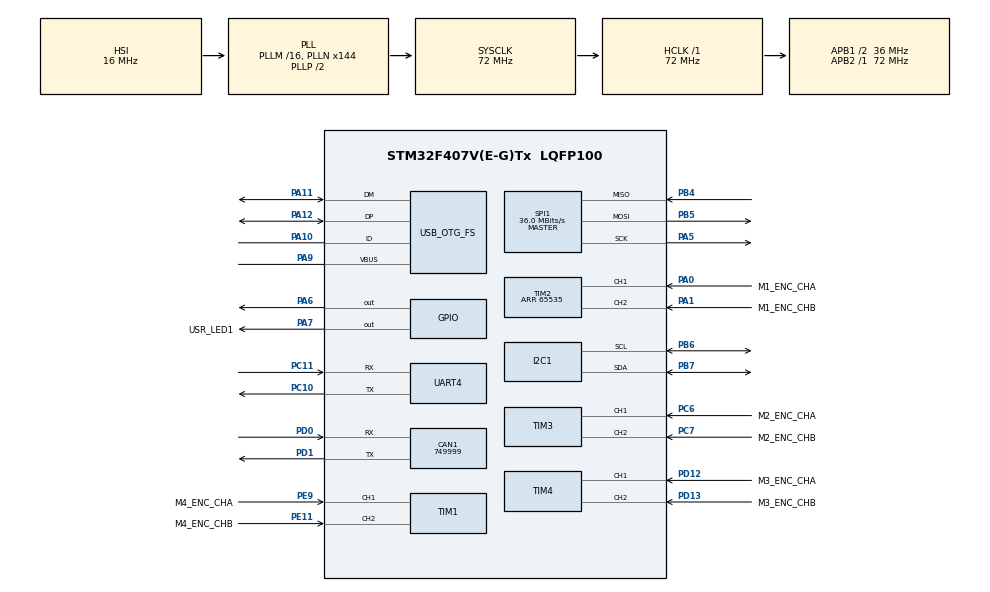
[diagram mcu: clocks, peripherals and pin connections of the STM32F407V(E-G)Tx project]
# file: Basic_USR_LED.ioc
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CAN1.BS1=CAN_BS1_1TQ
CAN1.BS2=CAN_BS2_1TQ
CAN1.CalculateBaudRate=749999
CAN1.CalculateTimeBit=1333
CAN1.CalculateTimeQuantum=444.44444444444446
Mcu.Family=STM32F4
Mcu.Name=STM32F407V(E-G)Tx
Mcu.Package=LQFP100
NVIC.PriorityGroup=NVIC_PRIORITYGROUP_4
NVIC.TIM1_CC_IRQn=true\:0\:0\:false\:false\:true\:true\:true\:true
NVIC.TIM1_UP_TIM10_IRQn=true\:0\:0\:false\:false\:true\:true\:true\:true
NVIC.TIM2_IRQn=true\:0\:0\:false\:false\:true\:true\:true\:true
NVIC.TIM3_IRQn=true\:0\:0\:false\:false\:true\:true\:true\:true
NVIC.TIM4_IRQn=true\:0\:0\:false\:false\:true\:true\:true\:true
NVIC.UART4_IRQn=true\:0\:0\:false\:false\:true\:true\:true\:true
PA0-WKUP.GPIO_Label=M1_ENC_CHA
PA0-WKUP.Signal=S_TIM2_CH1_ETR
PA1.GPIO_Label=M1_ENC_CHB
PA1.Signal=S_TIM2_CH2
PA10.Mode=OTG/Dual_Role_Device
PA10.Signal=USB_OTG_FS_ID
PA11.Mode=OTG/Dual_Role_Device
PA11.Signal=USB_OTG_FS_DM
PA12.Mode=OTG/Dual_Role_Device
PA12.Signal=USB_OTG_FS_DP
PA13.Mode=Serial_Wire
PA13.Signal=SYS_JTMS-SWDIO
PA14.Mode=Serial_Wire
PA14.Signal=SYS_JTCK-SWCLK
PA5.Mode=Full_Duplex_Master
PA5.Signal=SPI1_SCK
PA6.Signal=GPIO_Output
PA7.GPIO_Label=USR_LED1
PA7.Signal=GPIO_Output
PA9.Mode=Activate_VBUS
PA9.Signal=USB_OTG_FS_VBUS
PB4.Mode=Full_Duplex_Master
PB4.Signal=SPI1_MISO
PB5.Mode=Full_Duplex_Master
PB5.Signal=SPI1_MOSI
PB6.Mode=I2C
PB6.Signal=I2C1_SCL
PB7.Mode=I2C
PB7.Signal=I2C1_SDA
PC10.Mode=Asynchronous
PC10.Signal=UART4_TX
PC11.Mode=Asynchronous
PC11.Signal=UART4_RX
PC6.GPIO_Label=M2_ENC_CHA
PC6.Signal=S_TIM3_CH1
PC7.GPIO_Label=M2_ENC_CHB
PC7.Signal=S_TIM3_CH2
PD0.Mode=CAN_Activate
PD0.Signal=CAN1_RX
PD1.Mode=CAN_Activate
PD1.Signal=CAN1_TX
PD12.GPIO_Label=M3_ENC_CHA
PD12.Signal=S_TIM4_CH1
PD13.GPIO_Label=M3_ENC_CHB
PD13.Signal=S_TIM4_CH2
PE11.GPIO_Label=M4_ENC_CHB
PE11.Signal=S_TIM1_CH2
PE9.GPIO_Label=M4_ENC_CHA
PE9.Signal=S_TIM1_CH1
ProjectManager.HeapSize=0x200
ProjectManager.StackSize=0x400
ProjectManager.TargetToolchain=STM32CubeIDE
RCC.48MHZClocksFreq_Value=48000000
RCC.AHBFreq_Value=72000000
RCC.APB1CLKDivider=RCC_HCLK_DIV2
RCC.APB1Freq_Value=36000000
RCC.APB1TimFreq_Value=72000000
RCC.APB2Freq_Value=72000000
RCC.APB2TimFreq_Value=72000000
RCC.CortexFreq_Value=72000000
RCC.HCLKFreq_Value=72000000
RCC.HSE_VALUE=25000000
RCC.HSI_VALUE=16000000
RCC.LSE_VALUE=32768
RCC.PLLN=144
RCC.PLLQ=3
RCC.PLLSource=RCC_PLLSOURCE_HSI
RCC.PLLSourceVirtualString=RCC_PLLSOURCE_HSI
RCC.SYSCLKFreq_VALUE=72000000
RCC.SYSCLKSource=RCC_SYSCLKSOURCE_PLLCLK
RCC.VCOOutputFreq_Value=144000000
SH.S_TIM1_CH1.0=TIM1_CH1,Encoder_Interface
SH.S_TIM1_CH2.0=TIM1_CH2,Encoder_Interface
SH.S_TIM2_CH1_ETR.0=TIM2_CH1,Encoder_Interface
SH.S_TIM2_CH2.0=TIM2_CH2,Encoder_Interface
SH.S_TIM3_CH1.0=TIM3_CH1,Encoder_Interface
SH.S_TIM3_CH2.0=TIM3_CH2,Encoder_Interface
SH.S_TIM4_CH1.0=TIM4_CH1,Encoder_Interface
SH.S_TIM4_CH2.0=TIM4_CH2,Encoder_Interface
SPI1.BaudRatePrescaler=SPI_BAUDRATEPRESCALER_2
SPI1.CalculateBaudRate=36.0 MBits/s
SPI1.Direction=SPI_DIRECTION_2LINES
SPI1.Mode=SPI_MODE_MASTER
SPI1.VirtualType=VM_MASTER
TIM1.EncoderMode=TIM_ENCODERMODE_TI12
TIM1.IC1Polarity=TIM_ICPOLARITY_FALLING
TIM1.IC2Polarity=TIM_ICPOLARITY_FALLING
TIM2.EncoderMode=TIM_ENCODERMODE_TI12
TIM2.IC1Polarity=TIM_ICPOLARITY_FALLING
TIM2.IC2Polarity=TIM_ICPOLARITY_FALLING
TIM2.Period=65535
TIM3.EncoderMode=TIM_ENCODERMODE_TI12
TIM3.IC1Polarity=TIM_ICPOLARITY_FALLING
TIM3.IC2Polarity=TIM_ICPOLARITY_FALLING
TIM4.EncoderMode=TIM_ENCODERMODE_TI12
TIM4.IC1Polarity=TIM_ICPOLARITY_FALLING
TIM4.IC2Polarity=TIM_ICPOLARITY_FALLING
UART4.VirtualMode=Asynchronous
board=custom

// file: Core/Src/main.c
/* USER CODE BEGIN Header */
/**
  ******************************************************************************
  * @file           : main.c
  * @brief          : Main program body
  ******************************************************************************
  * @attention
  *
  * Copyright (c) 2024 STMicroelectronics.
  * All rights reserved.
  *
  * This software is licensed under terms that can be found in the LICENSE file
  * in the root directory of this software component.
  * If no LICENSE file comes with this software, it is provided AS-IS.
  *
  ******************************************************************************
  */
/* USER CODE END Header */
#include "main.h"

CAN_HandleTypeDef hcan1;

I2C_HandleTypeDef hi2c1;

SPI_HandleTypeDef hspi1;

TIM_HandleTypeDef htim1;
TIM_HandleTypeDef htim2;
TIM_HandleTypeDef htim3;
TIM_HandleTypeDef htim4;

UART_HandleTypeDef huart4;

/* USER CODE BEGIN PV */
uint16_t size = 200;
const uint8_t UART_TX_BUFF[200] = "Hi..This is NOVEMBER STM32F407 MCU talking.......\n";
uint8_t UART_RX_BUFF[5];
uint8_t res;
int trig;
/* USER CODE END PV */

void SystemClock_Config(void);
static void MX_GPIO_Init(void);
static void MX_TIM2_Init(void);
static void MX_TIM3_Init(void);
static void MX_TIM1_Init(void);
static void MX_TIM4_Init(void);
static void MX_UART4_Init(void);
static void MX_CAN1_Init(void);
static void MX_I2C1_Init(void);
static void MX_SPI1_Init(void);
static void MX_USB_OTG_FS_USB_Init(void);

/* USER CODE BEGIN 0 */
int32_t Counter_1=0, Count_1=0, Counter_2=0, Count_2=0,Counter_3=0, Count_3=0, Counter_4=0, Count_4=0;
int16_t position_1=0,position_2=0,position_3=0,position_4=0;
int speed_1=0,speed_2=0,speed_3=0,speed_4=0;

void HAL_TIM_IC_CaptureCallback (TIM_HandleTypeDef *htim)
{
	if(htim == &htim2)
	{
		Counter_1= __HAL_TIM_GetCounter(htim);
		Count_1 = Counter_1/4;
		position_1 = Count_1;
	}
	else if(htim == &htim3)
	{
		Counter_2 = __HAL_TIM_GetCounter(htim);
		Count_2 = Counter_2/4;
		position_2 = Count_2;
	}
	else if(htim == &htim4)
	{
		Counter_3 = __HAL_TIM_GetCounter(htim);
		Count_3 = Counter_3/4;
		position_3 = Count_3;
	}
	else if(htim == &htim1)
	{
		Counter_4 = __HAL_TIM_GetCounter(htim);
		Count_4 = Counter_4/4;
		position_4 = Count_4;
	}
}

void HAL_UART_RxCpltCallback(UART_HandleTypeDef *huart)
{
	trig = 1;
	if (huart->Instance == UART4) {
	memset(UART_RX_BUFF,0,sizeof(UART_RX_BUFF));
	//HAL_UART_Receive_IT(&huart4, UART_RX_BUFF, size);
	}

	//trig = 0;
}
/* USER CODE END 0 */

int main(void)
{

  /* MCU Configuration--------------------------------------------------------*/

  /* Reset of all peripherals, Initializes the Flash interface and the Systick. */
  HAL_Init();

  /* Configure the system clock */
  SystemClock_Config();

  /* Initialize all configured peripherals */
  MX_GPIO_Init();
  MX_TIM2_Init();
  MX_TIM3_Init();
  MX_TIM1_Init();
  MX_TIM4_Init();
  MX_UART4_Init();
  MX_CAN1_Init();
  MX_I2C1_Init();
  MX_SPI1_Init();
  MX_USB_OTG_FS_USB_Init();
  /* USER CODE BEGIN 2 */
  HAL_TIM_Encoder_Start_IT(&htim2, TIM_CHANNEL_ALL);
  HAL_TIM_Encoder_Start_IT(&htim3, TIM_CHANNEL_ALL);
  HAL_TIM_Encoder_Start_IT(&htim4, TIM_CHANNEL_ALL);
  HAL_TIM_Encoder_Start_IT(&htim1, TIM_CHANNEL_ALL);

  /* USER CODE END 2 */

  /* Infinite loop */
  while (1)
  {

    /* USER CODE BEGIN 3 */
	  HAL_UART_Transmit_IT(&huart4, UART_TX_BUFF, size);
	  HAL_UART_Receive_IT (&huart4, UART_RX_BUFF, 5);

	  if(res=(strcmp(&UART_RX_BUFF[0],"1")))
	  {
		  //memset(UART_RX_BUFF,0,sizeof(UART_RX_BUFF));
		  HAL_GPIO_WritePin(GPIOA, USER_LED, GPIO_PIN_RESET);
		  HAL_Delay(1000);
		  HAL_GPIO_WritePin(GPIOA, , GPIO_PIN_SET);
		  HAL_Delay(1000);
	  }
  }
  /* USER CODE END 3 */
}

void SystemClock_Config(void)
{
  RCC_OscInitTypeDef RCC_OscInitStruct = {0};
  RCC_ClkInitTypeDef RCC_ClkInitStruct = {0};

  /** Configure the main internal regulator output voltage
  */
  __HAL_RCC_PWR_CLK_ENABLE();
  __HAL_PWR_VOLTAGESCALING_CONFIG(PWR_REGULATOR_VOLTAGE_SCALE1);

  /** Initializes the RCC Oscillators according to the specified parameters
  * in the RCC_OscInitTypeDef structure.
  */
  RCC_OscInitStruct.OscillatorType = RCC_OSCILLATORTYPE_HSI;
  RCC_OscInitStruct.HSIState = RCC_HSI_ON;
  RCC_OscInitStruct.HSICalibrationValue = RCC_HSICALIBRATION_DEFAULT;
  RCC_OscInitStruct.PLL.PLLState = RCC_PLL_ON;
  RCC_OscInitStruct.PLL.PLLSource = RCC_PLLSOURCE_HSI;
  RCC_OscInitStruct.PLL.PLLM = 16;
  RCC_OscInitStruct.PLL.PLLN = 144;
  RCC_OscInitStruct.PLL.PLLP = RCC_PLLP_DIV2;
  RCC_OscInitStruct.PLL.PLLQ = 3;
  if (HAL_RCC_OscConfig(&RCC_OscInitStruct) != HAL_OK)
  {
    Error_Handler();
  }

  /** Initializes the CPU, AHB and APB buses clocks
  */
  RCC_ClkInitStruct.ClockType = RCC_CLOCKTYPE_HCLK|RCC_CLOCKTYPE_SYSCLK
                              |RCC_CLOCKTYPE_PCLK1|RCC_CLOCKTYPE_PCLK2;
  RCC_ClkInitStruct.SYSCLKSource = RCC_SYSCLKSOURCE_PLLCLK;
  RCC_ClkInitStruct.AHBCLKDivider = RCC_SYSCLK_DIV1;
  RCC_ClkInitStruct.APB1CLKDivider = RCC_HCLK_DIV2;
  RCC_ClkInitStruct.APB2CLKDivider = RCC_HCLK_DIV1;

  if (HAL_RCC_ClockConfig(&RCC_ClkInitStruct, FLASH_LATENCY_2) != HAL_OK)
  {
    Error_Handler();
  }
}

static void MX_CAN1_Init(void)
{

  hcan1.Instance = CAN1;
  hcan1.Init.Prescaler = 16;
  hcan1.Init.Mode = CAN_MODE_NORMAL;
  hcan1.Init.SyncJumpWidth = CAN_SJW_1TQ;
  hcan1.Init.TimeSeg1 = CAN_BS1_1TQ;
  hcan1.Init.TimeSeg2 = CAN_BS2_1TQ;
  hcan1.Init.TimeTriggeredMode = DISABLE;
  hcan1.Init.AutoBusOff = DISABLE;
  hcan1.Init.AutoWakeUp = DISABLE;
  hcan1.Init.AutoRetransmission = DISABLE;
  hcan1.Init.ReceiveFifoLocked = DISABLE;
  hcan1.Init.TransmitFifoPriority = DISABLE;
  if (HAL_CAN_Init(&hcan1) != HAL_OK)
  {
    Error_Handler();
  }

}

static void MX_I2C1_Init(void)
{

  hi2c1.Instance = I2C1;
  hi2c1.Init.ClockSpeed = 100000;
  hi2c1.Init.DutyCycle = I2C_DUTYCYCLE_2;
  hi2c1.Init.OwnAddress1 = 0;
  hi2c1.Init.AddressingMode = I2C_ADDRESSINGMODE_7BIT;
  hi2c1.Init.DualAddressMode = I2C_DUALADDRESS_DISABLE;
  hi2c1.Init.OwnAddress2 = 0;
  hi2c1.Init.GeneralCallMode = I2C_GENERALCALL_DISABLE;
  hi2c1.Init.NoStretchMode = I2C_NOSTRETCH_DISABLE;
  if (HAL_I2C_Init(&hi2c1) != HAL_OK)
  {
    Error_Handler();
  }

}

static void MX_SPI1_Init(void)
{

  /* SPI1 parameter configuration*/
  hspi1.Instance = SPI1;
  hspi1.Init.Mode = SPI_MODE_MASTER;
  hspi1.Init.Direction = SPI_DIRECTION_2LINES;
  hspi1.Init.DataSize = SPI_DATASIZE_8BIT;
  hspi1.Init.CLKPolarity = SPI_POLARITY_LOW;
  hspi1.Init.CLKPhase = SPI_PHASE_1EDGE;
  hspi1.Init.NSS = SPI_NSS_SOFT;
  hspi1.Init.BaudRatePrescaler = SPI_BAUDRATEPRESCALER_2;
  hspi1.Init.FirstBit = SPI_FIRSTBIT_MSB;
  hspi1.Init.TIMode = SPI_TIMODE_DISABLE;
  hspi1.Init.CRCCalculation = SPI_CRCCALCULATION_DISABLE;
  hspi1.Init.CRCPolynomial = 10;
  if (HAL_SPI_Init(&hspi1) != HAL_OK)
  {
    Error_Handler();
  }

}

static void MX_TIM1_Init(void)
{

  TIM_Encoder_InitTypeDef sConfig = {0};
  TIM_MasterConfigTypeDef sMasterConfig = {0};

  htim1.Instance = TIM1;
  htim1.Init.Prescaler = 0;
  htim1.Init.CounterMode = TIM_COUNTERMODE_UP;
  htim1.Init.Period = 65535;
  htim1.Init.ClockDivision = TIM_CLOCKDIVISION_DIV1;
  htim1.Init.RepetitionCounter = 0;
  htim1.Init.AutoReloadPreload = TIM_AUTORELOAD_PRELOAD_DISABLE;
  sConfig.EncoderMode = TIM_ENCODERMODE_TI12;
  sConfig.IC1Polarity = TIM_ICPOLARITY_FALLING;
  sConfig.IC1Selection = TIM_ICSELECTION_DIRECTTI;
  sConfig.IC1Prescaler = TIM_ICPSC_DIV1;
  sConfig.IC1Filter = 0;
  sConfig.IC2Polarity = TIM_ICPOLARITY_FALLING;
  sConfig.IC2Selection = TIM_ICSELECTION_DIRECTTI;
  sConfig.IC2Prescaler = TIM_ICPSC_DIV1;
  sConfig.IC2Filter = 0;
  if (HAL_TIM_Encoder_Init(&htim1, &sConfig) != HAL_OK)
  {
    Error_Handler();
  }
  sMasterConfig.MasterOutputTrigger = TIM_TRGO_RESET;
  sMasterConfig.MasterSlaveMode = TIM_MASTERSLAVEMODE_DISABLE;
  if (HAL_TIMEx_MasterConfigSynchronization(&htim1, &sMasterConfig) != HAL_OK)
  {
    Error_Handler();
  }

}

static void MX_TIM2_Init(void)
{

  TIM_Encoder_InitTypeDef sConfig = {0};
  TIM_MasterConfigTypeDef sMasterConfig = {0};

  htim2.Instance = TIM2;
  htim2.Init.Prescaler = 0;
  htim2.Init.CounterMode = TIM_COUNTERMODE_UP;
  htim2.Init.Period = 65535;
  htim2.Init.ClockDivision = TIM_CLOCKDIVISION_DIV1;
  htim2.Init.AutoReloadPreload = TIM_AUTORELOAD_PRELOAD_DISABLE;
  sConfig.EncoderMode = TIM_ENCODERMODE_TI12;
  sConfig.IC1Polarity = TIM_ICPOLARITY_FALLING;
  sConfig.IC1Selection = TIM_ICSELECTION_DIRECTTI;
  sConfig.IC1Prescaler = TIM_ICPSC_DIV1;
  sConfig.IC1Filter = 0;
  sConfig.IC2Polarity = TIM_ICPOLARITY_FALLING;
  sConfig.IC2Selection = TIM_ICSELECTION_DIRECTTI;
  sConfig.IC2Prescaler = TIM_ICPSC_DIV1;
  sConfig.IC2Filter = 0;
  if (HAL_TIM_Encoder_Init(&htim2, &sConfig) != HAL_OK)
  {
    Error_Handler();
  }
  sMasterConfig.MasterOutputTrigger = TIM_TRGO_RESET;
  sMasterConfig.MasterSlaveMode = TIM_MASTERSLAVEMODE_DISABLE;
  if (HAL_TIMEx_MasterConfigSynchronization(&htim2, &sMasterConfig) != HAL_OK)
  {
    Error_Handler();
  }

}

static void MX_TIM3_Init(void)
{

  TIM_Encoder_InitTypeDef sConfig = {0};
  TIM_MasterConfigTypeDef sMasterConfig = {0};

  htim3.Instance = TIM3;
  htim3.Init.Prescaler = 0;
  htim3.Init.CounterMode = TIM_COUNTERMODE_UP;
  htim3.Init.Period = 65535;
  htim3.Init.ClockDivision = TIM_CLOCKDIVISION_DIV1;
  htim3.Init.AutoReloadPreload = TIM_AUTORELOAD_PRELOAD_DISABLE;
  sConfig.EncoderMode = TIM_ENCODERMODE_TI12;
  sConfig.IC1Polarity = TIM_ICPOLARITY_FALLING;
  sConfig.IC1Selection = TIM_ICSELECTION_DIRECTTI;
  sConfig.IC1Prescaler = TIM_ICPSC_DIV1;
  sConfig.IC1Filter = 0;
  sConfig.IC2Polarity = TIM_ICPOLARITY_FALLING;
  sConfig.IC2Selection = TIM_ICSELECTION_DIRECTTI;
  sConfig.IC2Prescaler = TIM_ICPSC_DIV1;
  sConfig.IC2Filter = 0;
  if (HAL_TIM_Encoder_Init(&htim3, &sConfig) != HAL_OK)
  {
    Error_Handler();
  }
  sMasterConfig.MasterOutputTrigger = TIM_TRGO_RESET;
  sMasterConfig.MasterSlaveMode = TIM_MASTERSLAVEMODE_DISABLE;
  if (HAL_TIMEx_MasterConfigSynchronization(&htim3, &sMasterConfig) != HAL_OK)
  {
    Error_Handler();
  }

}

static void MX_TIM4_Init(void)
{

  TIM_Encoder_InitTypeDef sConfig = {0};
  TIM_MasterConfigTypeDef sMasterConfig = {0};

  htim4.Instance = TIM4;
  htim4.Init.Prescaler = 0;
  htim4.Init.CounterMode = TIM_COUNTERMODE_UP;
  htim4.Init.Period = 65535;
  htim4.Init.ClockDivision = TIM_CLOCKDIVISION_DIV1;
  htim4.Init.AutoReloadPreload = TIM_AUTORELOAD_PRELOAD_DISABLE;
  sConfig.EncoderMode = TIM_ENCODERMODE_TI12;
  sConfig.IC1Polarity = TIM_ICPOLARITY_FALLING;
  sConfig.IC1Selection = TIM_ICSELECTION_DIRECTTI;
  sConfig.IC1Prescaler = TIM_ICPSC_DIV1;
  sConfig.IC1Filter = 0;
  sConfig.IC2Polarity = TIM_ICPOLARITY_FALLING;
  sConfig.IC2Selection = TIM_ICSELECTION_DIRECTTI;
  sConfig.IC2Prescaler = TIM_ICPSC_DIV1;
  sConfig.IC2Filter = 0;
  if (HAL_TIM_Encoder_Init(&htim4, &sConfig) != HAL_OK)
  {
    Error_Handler();
  }
  sMasterConfig.MasterOutputTrigger = TIM_TRGO_RESET;
  sMasterConfig.MasterSlaveMode = TIM_MASTERSLAVEMODE_DISABLE;
  if (HAL_TIMEx_MasterConfigSynchronization(&htim4, &sMasterConfig) != HAL_OK)
  {
    Error_Handler();
  }

}

static void MX_UART4_Init(void)
{

  huart4.Instance = UART4;
  huart4.Init.BaudRate = 115200;
  huart4.Init.WordLength = UART_WORDLENGTH_8B;
  huart4.Init.StopBits = UART_STOPBITS_1;
  huart4.Init.Parity = UART_PARITY_NONE;
  huart4.Init.Mode = UART_MODE_TX_RX;
  huart4.Init.HwFlowCtl = UART_HWCONTROL_NONE;
  huart4.Init.OverSampling = UART_OVERSAMPLING_16;
  if (HAL_UART_Init(&huart4) != HAL_OK)
  {
    Error_Handler();
  }

}

static void MX_USB_OTG_FS_USB_Init(void)
{

}

static void MX_GPIO_Init(void)
{
  GPIO_InitTypeDef GPIO_InitStruct = {0};

  /* GPIO Ports Clock Enable */
  __HAL_RCC_GPIOA_CLK_ENABLE();
  __HAL_RCC_GPIOE_CLK_ENABLE();
  __HAL_RCC_GPIOD_CLK_ENABLE();
  __HAL_RCC_GPIOC_CLK_ENABLE();
  __HAL_RCC_GPIOB_CLK_ENABLE();

  /*Configure GPIO pin Output Level */
  HAL_GPIO_WritePin(GPIOA, GPIO_PIN_6|USR_LED1_Pin, GPIO_PIN_RESET);

  /*Configure GPIO pins : PA6 USR_LED1_Pin */
  GPIO_InitStruct.Pin = GPIO_PIN_6|USR_LED1_Pin;
  GPIO_InitStruct.Mode = GPIO_MODE_OUTPUT_PP;
  GPIO_InitStruct.Pull = GPIO_NOPULL;
  GPIO_InitStruct.Speed = GPIO_SPEED_FREQ_LOW;
  HAL_GPIO_Init(GPIOA, &GPIO_InitStruct);

  /*Configure GPIO pin : PA9 */
  GPIO_InitStruct.Pin = GPIO_PIN_9;
  GPIO_InitStruct.Mode = GPIO_MODE_INPUT;
  GPIO_InitStruct.Pull = GPIO_NOPULL;
  HAL_GPIO_Init(GPIOA, &GPIO_InitStruct);

  /*Configure GPIO pins : PA10 PA11 PA12 */
  GPIO_InitStruct.Pin = GPIO_PIN_10|GPIO_PIN_11|GPIO_PIN_12;
  GPIO_InitStruct.Mode = GPIO_MODE_AF_PP;
  GPIO_InitStruct.Pull = GPIO_NOPULL;
  GPIO_InitStruct.Speed = GPIO_SPEED_FREQ_VERY_HIGH;
  GPIO_InitStruct.Alternate = GPIO_AF10_OTG_FS;
  HAL_GPIO_Init(GPIOA, &GPIO_InitStruct);

}

void Error_Handler(void)
{
  __disable_irq();
  while (1)
  {
  }
}
